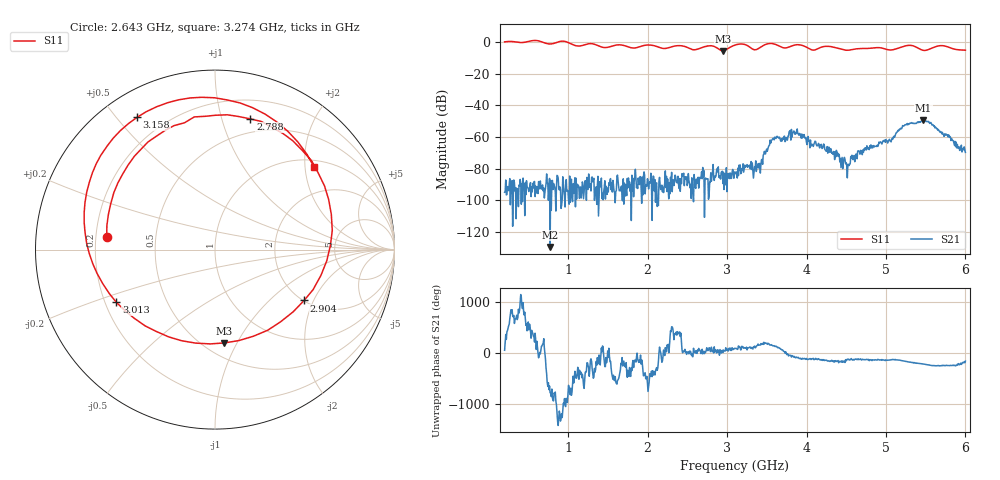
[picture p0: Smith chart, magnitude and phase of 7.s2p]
! NanoVNA-App by OneOfEleven et al v1.1.209 (+OD15)
! Date: 2024-07-30 15:17:52
! Start: 200MHz Stop: 6GHz Points: 801
! S-Parameter data: F S11 S21 S12 S22
# Hz S RI R 50
!  Frequency  S11_Real  S11_Imag  S21_Real  S21_Imag  S12_Real  S12_Imag  S22_Real  S22_Imag
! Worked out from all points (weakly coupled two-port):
!   801 points, 200 MHz to 6 GHz, reference 50 ohm
!   highest |S21| = -49.57 dB at 5.471 GHz (marker M1); lowest = -129.6 dB at 772.8 MHz (marker M2)
!   lowest |S11| = -5.6 dB at 2.948 GHz (marker M3), VSWR 3.19, Z = 31.1 - j44.5 ohm
!   |S11| at or under -10 dB: nowhere
!   S12 and S22 are empty: the file has one direction only
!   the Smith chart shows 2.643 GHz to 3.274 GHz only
!   S11 on the Smith chart (normalised r, x): 2.643 GHz: 0.24, +0.05; 2.788 GHz: 0.37, +1.24; 2.904 GHz: 2.02, -1.70; 3.013 GHz: 0.25, -0.24; 3.158 GHz: 0.10, +0.57; 3.274 GHz: 1.18, +2.24
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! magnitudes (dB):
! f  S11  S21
! 200 MHz  0.0  -95.0
! 772.8 MHz  -1.3  -129.6
! 1.171 GHz  -2.3  -94.8
! 2.136 GHz  -3.2  -103.4
! 2.643 GHz  -4.3  -92.4
! 2.788 GHz  -2.4  -88.8
! 2.904 GHz  -4.9  -85.8
! 2.948 GHz  -5.6  -89.5
! 3.013 GHz  -4.1  -86.2
! 3.1 GHz  -2.0  -83.3
! 3.158 GHz  -1.4  -81.2
! 3.274 GHz  -2.9  -78.4
! 3.397 GHz  -4.1  -79.6
! 3.607 GHz  -1.5  -60.3
! 3.861 GHz  -1.9  -57.8
! 4.072 GHz  -5.1  -64.8
! 4.521 GHz  -5.3  -77.3
! 4.673 GHz  -4.2  -70.9
! 5.036 GHz  -5.0  -62.4
! 5.239 GHz  -2.6  -52.4
! 5.471 GHz  -5.3  -49.6
! 6 GHz  -5.2  -69.8
